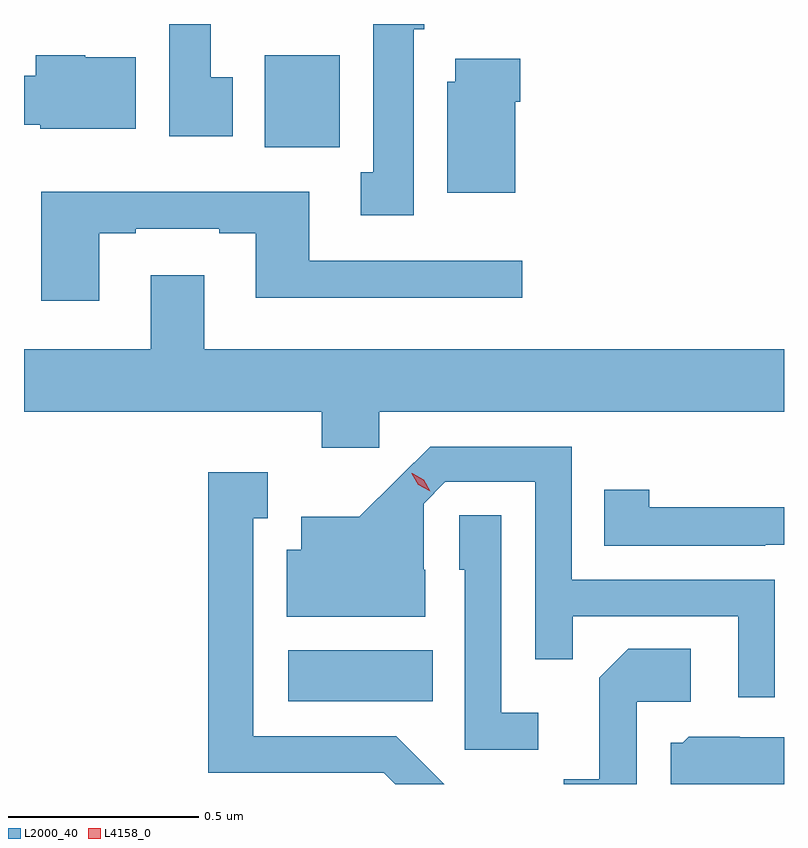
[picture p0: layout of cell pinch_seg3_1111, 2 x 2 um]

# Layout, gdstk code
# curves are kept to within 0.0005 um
import gdstk
lib = gdstk.Library(unit=1e-6, precision=1e-09)
def R(c, l, rs):  # rectangles x0, y0, x1, y1
    for r in rs: c.add(gdstk.rectangle(r[:2], r[2:], *l))
def P(c, l, *ps):  # polygons
    for p in ps: c.add(gdstk.Polygon(p, *l))
L2000_40 = (2000, 40)
L4158_0 = (4158, 0)

pinch_seg3_1111 = lib.new_cell('pinch_seg3_1111')
R(pinch_seg3_1111, L2000_40, [(328.296,676.178,328.676,676.312), (328.235,677.636,328.432,677.878)])
P(pinch_seg3_1111, L2000_40, [(328.15,677.82),(328.093,677.82),(328.093,677.96),(327.983,677.96),(327.983,677.664),(328.15,677.664)],
  [(328.627,677.946),(328.654,677.946),(328.654,677.96),(328.52,677.96),(328.52,677.57),(328.487,677.57),(328.487,677.457),(328.627,677.457)],
  [(327.895,677.872),(327.762,677.872),(327.762,677.878),(327.632,677.878),(327.632,677.824),(327.601,677.824),(327.601,677.695),(327.644,677.695),(327.644,677.684),(327.895,677.684)],
  [(328.894,677.756),(328.907,677.756),(328.907,677.869),(328.736,677.869),(328.736,677.808),(328.715,677.808),(328.715,677.516),(328.894,677.516)],
  [(327.799,677.409),(327.895,677.409),(327.895,677.421),(328.115,677.421),(328.115,677.409),(328.211,677.409),(328.211,677.24),(328.912,677.24),(328.912,677.337),(328.351,677.337),(328.351,677.518),(327.647,677.518),(327.647,677.232),(327.799,677.232)],
  [(328.536,676.94),(329.601,676.94),(329.601,677.104),(328.075,677.104),(328.075,677.299),(327.935,677.299),(327.935,677.104),(327.601,677.104),(327.601,676.94),(328.385,676.94),(328.385,676.845),(328.536,676.845)],
  [(329.577,676.497),(329.043,676.497),(329.043,676.848),(328.67,676.848),(328.483,676.663),(328.331,676.663),(328.331,676.576),(328.292,676.576),(328.292,676.4),(328.657,676.4),(328.657,676.524),(328.653,676.524),(328.653,676.698),(328.71,676.755),(328.947,676.755),(328.947,676.288),(329.045,676.288),(329.045,676.401),(329.481,676.401),(329.481,676.188),(329.577,676.188)],
  [(329.214,676.176),(329.356,676.176),(329.356,676.316),(329.191,676.316),(329.115,676.24),(329.115,675.973),(329.021,675.973),(329.021,675.96),(329.214,675.96)],
  [(329.552,676.59),(329.601,676.59),(329.601,676.688),(329.247,676.688),(329.247,676.735),(329.128,676.735),(329.128,676.587),(329.552,676.587)],
  [(328.954,676.147),(328.857,676.147),(328.857,676.667),(328.746,676.667),(328.746,676.524),(328.761,676.524),(328.761,676.05),(328.954,676.05)],
  [(329.601,676.083),(329.484,676.083),(329.484,676.084),(329.35,676.084),(329.334,676.068),(329.303,676.068),(329.303,675.96),(329.601,675.96)],
  [(328.204,676.086),(328.204,676.659),(328.243,676.659),(328.243,676.78),(328.086,676.78),(328.086,675.989),(328.326,675.989),(328.326,675.99),(328.548,675.99),(328.578,675.96),(328.707,675.96),(328.581,676.086)])
P(pinch_seg3_1111, L4158_0, [(328.67,676.731),(328.639,676.747),(328.622,676.777),(328.622,676.778),(328.623,676.778),(328.653,676.761),(328.67,676.731),(328.67,676.731)])

lib.write_gds('pinch_seg3_1111.gds')
